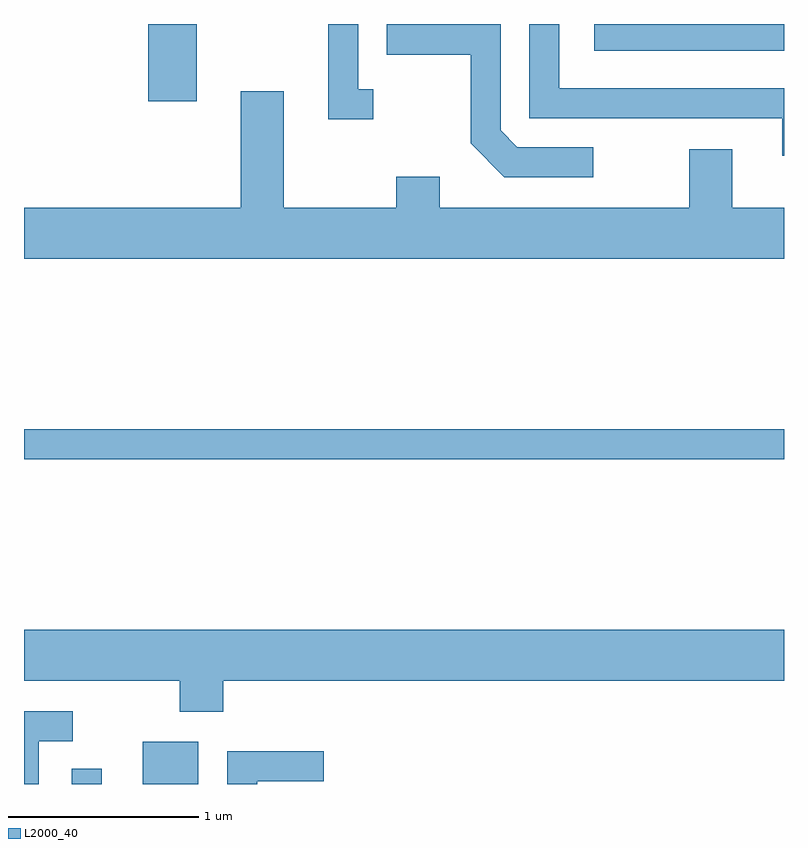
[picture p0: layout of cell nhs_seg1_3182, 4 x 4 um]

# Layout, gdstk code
import gdstk
lib = gdstk.Library(unit=1e-6, precision=1e-09)
def R(c, l, rs):  # rectangles x0, y0, x1, y1
    for r in rs: c.add(gdstk.rectangle(r[:2], r[2:], *l))
def P(c, l, *ps):  # polygons
    for p in ps: c.add(gdstk.Polygon(p, *l))
L2000_40 = (2000, 40)

nhs_seg1_3182 = lib.new_cell('nhs_seg1_3182')
R(nhs_seg1_3182, L2000_40, [(281.861,885.712,282.019,885.793), (282.236,885.712,282.529,885.934), (281.611,887.421,285.611,887.579), (282.266,889.306,282.519,889.712), (284.611,889.571,285.611,889.712)])
P(nhs_seg1_3182, L2000_40, [(284.608,889.064),(284.207,889.064),(284.119,889.152),(284.119,889.712),(283.521,889.712),(283.521,889.551),(283.961,889.551),(283.961,889.084),(284.139,888.906),(284.608,888.906)],
  [(283.448,889.369),(283.369,889.369),(283.369,889.712),(283.211,889.712),(283.211,889.211),(283.448,889.211)],
  [(285.611,889.374),(284.429,889.374),(284.429,889.712),(284.271,889.712),(284.271,889.216),(285.601,889.216),(285.601,889.018),(285.611,889.018)],
  [(283.571,888.909),(283.571,888.744),(282.979,888.744),(282.979,889.359),(282.751,889.359),(282.751,888.744),(281.611,888.744),(281.611,888.476),(285.611,888.476),(285.611,888.744),(285.339,888.744),(285.339,889.054),(285.111,889.054),(285.111,888.744),(283.799,888.744),(283.799,888.909)],
  [(282.659,886.256),(285.611,886.256),(285.611,886.524),(281.611,886.524),(281.611,886.256),(282.431,886.256),(282.431,886.091),(282.659,886.091)],
  [(281.689,885.936),(281.868,885.936),(281.868,886.094),(281.611,886.094),(281.611,885.712),(281.689,885.712)],
  [(282.839,885.726),(283.188,885.726),(283.188,885.884),(282.681,885.884),(282.681,885.712),(282.839,885.712)])

lib.write_gds('nhs_seg1_3182.gds')
